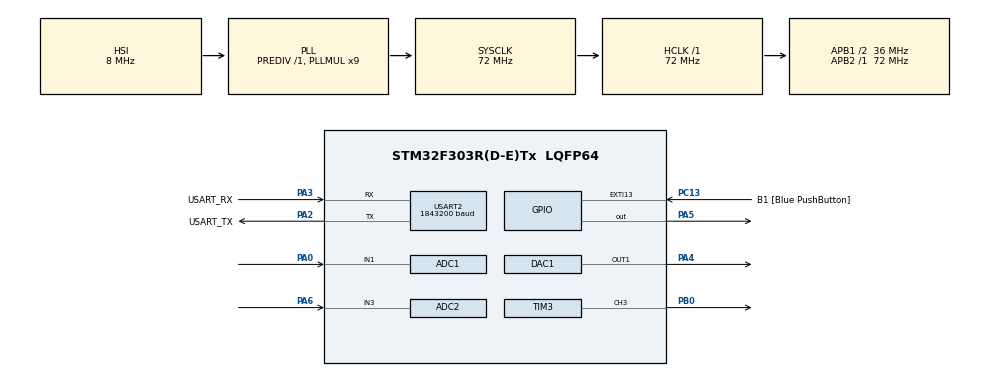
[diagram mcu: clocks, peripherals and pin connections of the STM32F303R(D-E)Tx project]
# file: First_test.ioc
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ADC1.Channel-1\#ChannelRegularConversion=ADC_CHANNEL_1
ADC1.ContinuousConvMode=ENABLE
ADC1.DMAContinuousRequests=ENABLE
ADC1.NbrOfConversionFlag=1
ADC1.Offset-1\#ChannelRegularConversion=0
ADC1.OffsetNumber-1\#ChannelRegularConversion=ADC_OFFSET_NONE
ADC1.Rank-1\#ChannelRegularConversion=1
ADC1.SamplingTime-1\#ChannelRegularConversion=ADC_SAMPLETIME_19CYCLES_5
ADC1.SamplingTimeOPAMP-1\#ChannelRegularConversion=ADC_SAMPLETIME_61CYCLES_5
ADC1.master=1
ADC2.Channel-1\#ChannelRegularConversion=ADC_CHANNEL_3
ADC2.ContinuousConvMode=ENABLE
ADC2.DMAContinuousRequests=ENABLE
ADC2.NbrOfConversionFlag=1
ADC2.Offset-1\#ChannelRegularConversion=0
ADC2.OffsetNumber-1\#ChannelRegularConversion=ADC_OFFSET_NONE
ADC2.Rank-1\#ChannelRegularConversion=1
ADC2.SamplingTime-1\#ChannelRegularConversion=ADC_SAMPLETIME_1CYCLE_5
ADC2.SamplingTimeOPAMP-1\#ChannelRegularConversion=ADC_SAMPLETIME_61CYCLES_5
DAC1.DAC_Trigger=DAC_TRIGGER_T2_TRGO
DAC1.WaveGeneration=DISABLE
Dma.ADC1.0.Direction=DMA_PERIPH_TO_MEMORY
Dma.ADC1.0.Instance=DMA1_Channel1
Dma.ADC1.0.MemDataAlignment=DMA_MDATAALIGN_HALFWORD
Dma.ADC1.0.MemInc=DMA_MINC_ENABLE
Dma.ADC1.0.Mode=DMA_CIRCULAR
Dma.ADC1.0.PeriphDataAlignment=DMA_PDATAALIGN_HALFWORD
Dma.ADC1.0.PeriphInc=DMA_PINC_DISABLE
Dma.ADC1.0.Priority=DMA_PRIORITY_LOW
Dma.ADC2.2.Direction=DMA_PERIPH_TO_MEMORY
Dma.ADC2.2.Instance=DMA2_Channel1
Dma.ADC2.2.MemDataAlignment=DMA_MDATAALIGN_HALFWORD
Dma.ADC2.2.MemInc=DMA_MINC_ENABLE
Dma.ADC2.2.Mode=DMA_CIRCULAR
Dma.ADC2.2.PeriphDataAlignment=DMA_PDATAALIGN_HALFWORD
Dma.ADC2.2.PeriphInc=DMA_PINC_DISABLE
Dma.ADC2.2.Priority=DMA_PRIORITY_LOW
Dma.DAC1_CH1.1.Direction=DMA_MEMORY_TO_PERIPH
Dma.DAC1_CH1.1.Instance=DMA1_Channel3
Dma.DAC1_CH1.1.MemDataAlignment=DMA_MDATAALIGN_WORD
Dma.DAC1_CH1.1.MemInc=DMA_MINC_ENABLE
Dma.DAC1_CH1.1.Mode=DMA_CIRCULAR
Dma.DAC1_CH1.1.PeriphDataAlignment=DMA_PDATAALIGN_WORD
Dma.DAC1_CH1.1.PeriphInc=DMA_PINC_DISABLE
Dma.DAC1_CH1.1.Priority=DMA_PRIORITY_HIGH
Dma.Request0=ADC1
Dma.Request1=DAC1_CH1
Dma.Request2=ADC2
Mcu.Family=STM32F3
Mcu.Name=STM32F303R(D-E)Tx
Mcu.Package=LQFP64
NVIC.ADC1_2_IRQn=true\:0\:0\:false\:false\:true\:true\:true
NVIC.DMA1_Channel1_IRQn=true\:0\:0\:false\:false\:true\:false\:true
NVIC.DMA1_Channel3_IRQn=true\:0\:0\:false\:false\:true\:false\:true
NVIC.DMA2_Channel1_IRQn=true\:0\:0\:false\:false\:true\:false\:true
NVIC.PriorityGroup=NVIC_PRIORITYGROUP_0
NVIC.TIM2_IRQn=true\:0\:0\:false\:false\:true\:true\:true
NVIC.TIM4_IRQn=true\:0\:0\:false\:false\:true\:true\:true
NVIC.TIM6_DAC_IRQn=true\:0\:0\:false\:false\:true\:true\:true
NVIC.USART2_IRQn=true\:0\:0\:false\:false\:true\:true\:true
PA0.Mode=IN1-Single-Ended
PA0.Signal=ADC1_IN1
PA13.GPIO_Label=TMS
PA13.Mode=Serial_Wire
PA13.Signal=SYS_JTMS-SWDIO
PA14.GPIO_Label=TCK
PA14.Mode=Serial_Wire
PA14.Signal=SYS_JTCK-SWCLK
PA2.GPIO_Label=USART_TX
PA2.GPIO_Mode=GPIO_MODE_AF_PP
PA2.GPIO_PuPd=GPIO_NOPULL
PA2.GPIO_Speed=GPIO_SPEED_FREQ_LOW
PA2.Mode=Asynchronous
PA2.Signal=USART2_TX
PA3.GPIO_Label=USART_RX
PA3.GPIO_Mode=GPIO_MODE_AF_PP
PA3.GPIO_PuPd=GPIO_NOPULL
PA3.GPIO_Speed=GPIO_SPEED_FREQ_LOW
PA3.Mode=Asynchronous
PA3.Signal=USART2_RX
PA4.Signal=COMP_DAC11_group
PA5.GPIO_PuPd=GPIO_PULLDOWN
PA5.GPIO_Speed=GPIO_SPEED_FREQ_HIGH
PA5.Signal=GPIO_Output
PA6.Mode=IN3-Single-Ended
PA6.Signal=ADC2_IN3
PB0.Signal=S_TIM3_CH3
PB3.GPIO_Label=SWO
PB3.Signal=SYS_JTDO-TRACESWO
PC13.GPIO_Label=B1 [Blue PushButton]
PC13.GPIO_ModeDefaultEXTI=GPIO_MODE_IT_FALLING
PC13.Signal=GPXTI13
PC14-OSC32_IN.Mode=LSE-External-Oscillator
PC14-OSC32_IN.Signal=RCC_OSC32_IN
PC15-OSC32_OUT.Mode=LSE-External-Oscillator
PC15-OSC32_OUT.Signal=RCC_OSC32_OUT
PF0-OSC_IN.Mode=HSE-External-Clock-Source
PF0-OSC_IN.Signal=RCC_OSC_IN
PF1-OSC_OUT.Signal=RCC_OSC_OUT
ProjectManager.HeapSize=0x200
ProjectManager.StackSize=0x400
ProjectManager.TargetToolchain=STM32CubeIDE
RCC.AHBFreq_Value=72000000
RCC.APB1CLKDivider=RCC_HCLK_DIV2
RCC.APB1Freq_Value=36000000
RCC.APB1TimFreq_Value=72000000
RCC.APB2Freq_Value=72000000
RCC.APB2TimFreq_Value=72000000
RCC.CortexFreq_Value=72000000
RCC.HCLKFreq_Value=72000000
RCC.HSE_VALUE=8000000
RCC.HSI_VALUE=8000000
RCC.PLLM=8
RCC.PLLMUL=RCC_PLL_MUL9
RCC.PLLN=336
RCC.PLLP=RCC_PLLP_DIV4
RCC.PLLQ=7
RCC.RCC_PLLsource_Clock_Source_FROM_HSE=RCC_HSE_PREDIV_DIV2
RCC.SYSCLKFreq_VALUE=72000000
RCC.SYSCLKSourceVirtual=RCC_SYSCLKSOURCE_PLLCLK
RCC.USBFreq_Value=72000000
SH.COMP_DAC11_group.0=DAC1_OUT1,DAC_OUT1
SH.S_TIM3_CH3.0=TIM3_CH3,PWM Generation3 CH3
TIM2.Period=624
TIM2.TIM_MasterOutputTrigger=TIM_TRGO_UPDATE
TIM3.Channel-PWM\ Generation3\ CH3=TIM_CHANNEL_3
TIM3.Period=50
TIM3.Prescaler=3
TIM3.TIM_MasterOutputTrigger=TIM_TRGO_RESET
TIM4.Prescaler=6000
USART2.BaudRate=1843200
USART2.VirtualMode-Asynchronous=VM_ASYNC
VP_TIM2_VS_ClockSourceINT.Mode=Internal
VP_TIM3_VS_ClockSourceINT.Mode=Internal
VP_TIM4_VS_ClockSourceINT.Mode=Internal
board=NUCLEO-F303RE

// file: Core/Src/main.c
/* USER CODE BEGIN Header */
/**
  ******************************************************************************
  * @file           : main.c
  * @brief          : Main program body
  ******************************************************************************
  * @attention
  *
  * <h2><center>&copy; Copyright (c) 2020 STMicroelectronics.
  * All rights reserved.</center></h2>
  *
  * This software component is licensed by ST under BSD 3-Clause license,
  * the "License"; You may not use this file except in compliance with the
  * License. You may obtain a copy of the License at:
  *                        opensource.org/licenses/BSD-3-Clause
  *
  ******************************************************************************
  */
/* USER CODE END Header */
#include "main.h"

/* USER CODE BEGIN Includes */
#include <string.h>  // Required for strlen() function
#include <stdio.h>   // Required for sprintf() function
#include <stdlib.h>  // Required for abs() function
#include <math.h>
#include <errno.h>
/* USER CODE END Includes */

ADC_HandleTypeDef hadc1;
ADC_HandleTypeDef hadc2;
DMA_HandleTypeDef hdma_adc1;
DMA_HandleTypeDef hdma_adc2;

DAC_HandleTypeDef hdac1;
DMA_HandleTypeDef hdma_dac1_ch1;

TIM_HandleTypeDef htim2;
TIM_HandleTypeDef htim3;
TIM_HandleTypeDef htim4;

UART_HandleTypeDef huart2;

/* USER CODE BEGIN PV */
//Constants

const int CLOCK_SPEED = 72000000; //Needed to measure time using clock cycles passed
const int RAM_SIZE = 80000; //kB

const int MAX_SAMPLES = 25000; //Uses 50kB of memory, value here must match the size of the 'data' array on line 68
const double ADC_CYCLES = 61.5; //Set in .ioc
const int TIMER_FREQ_TIMES_ARR = 560000; //TIM2->ARR = 40 gives 14kHz

uint32_t DAC_Offset[2] = {484, 2458};

//AFG LUTs
uint32_t LUT_SineWave[128] = {
    2048, 2149, 2250, 2350, 2450, 2549, 2646, 2742, 2837, 2929, 3020, 3108, 3193, 3275, 3355,
    3431, 3504, 3574, 3639, 3701, 3759, 3812, 3861, 3906, 3946, 3982, 4013, 4039, 4060, 4076,
    4087, 4094, 4095, 4091, 4082, 4069, 4050, 4026, 3998, 3965, 3927, 3884, 3837, 3786, 3730,
    3671, 3607, 3539, 3468, 3394, 3316, 3235, 3151, 3064, 2975, 2883, 2790, 2695, 2598, 2500,
    2400, 2300, 2199, 2098, 1997, 1896, 1795, 1695, 1595, 1497, 1400, 1305, 1212, 1120, 1031,
    944, 860, 779, 701, 627, 556, 488, 424, 365, 309, 258, 211, 168, 130, 97,
    69, 45, 26, 13, 4, 0, 1, 8, 19, 35, 56, 82, 113, 149, 189,
    234, 283, 336, 394, 456, 521, 591, 664, 740, 820, 902, 987, 1075, 1166, 1258,
    1353, 1449, 1546, 1645, 1745, 1845, 1946, 2047
};

uint32_t LUT_SquareWave[128] = {
	4095, 4095, 4095, 4095, 4095, 4095, 4095, 4095, 4095, 4095, 4095, 4095, 4095, 4095, 4095,
	4095, 4095, 4095, 4095, 4095, 4095, 4095, 4095, 4095, 4095, 4095, 4095, 4095, 4095, 4095,
	4095, 4095, 4095, 4095, 4095, 4095, 4095, 4095, 4095, 4095, 4095, 4095, 4095, 4095, 4095,
	4095, 4095, 4095, 4095, 4095, 4095, 4095, 4095, 4095, 4095, 4095, 4095, 4095, 4095, 4095,
	0,    0,    0,    0,    0,    0,    0,    0,    0,    0,    0,    0,    0,    0,    0,
    0,    0,    0,    0,    0,    0,    0,    0,    0,    0,    0,    0,    0,    0,    0,
    0,    0,    0,    0,    0,    0,    0,    0,    0,    0,    0,    0,    0,    0,    0,
    0,    0,    0,    0,    0,    0,    0,    0,    0,    0,    0,    0,    0,    0,    0,
    0,    0,    0,    0,    0,    0,    0,    0
};

uint32_t LUT_SawtoothWave[128] = {
		0 , 32 , 64 , 96 , 128 , 160 , 192 , 224 , 256 , 288 , 320 , 352 , 384 , 416 , 448 ,
		480 , 512 , 544 , 576 , 608 , 640 , 672 , 704 , 736 , 768 , 800 , 832 , 864 , 896 , 928 ,
		960 , 992 , 1024 , 1056 , 1088 , 1120 , 1152 , 1184 , 1216 , 1248 , 1280 , 1312 , 1344 , 1376 , 1408 ,
		1440 , 1472 , 1504 , 1536 , 1568 , 1600 , 1632 , 1664 , 1696 , 1728 , 1760 , 1792 , 1824 , 1856 , 1888 ,
		1920 , 1952 , 1984 , 2016 , 2048 , 2080 , 2112 , 2144 , 2176 , 2208 , 2240 , 2272 , 2304 , 2336 , 2368 ,
		2400 , 2432 , 2464 , 2496 , 2528 , 2560 , 2592 , 2624 , 2656 , 2688 , 2720 , 2752 , 2784 , 2816 , 2848 ,
		2880 , 2912 , 2944 , 2976 , 3008 , 3040 , 3072 , 3104 , 3136 , 3168 , 3200 , 3232 , 3264 , 3296 , 3328 ,
		3360 , 3392 , 3424 , 3456 , 3488 , 3520 , 3552 , 3584 , 3616 , 3648 , 3680 , 3712 , 3744 , 3776 , 3808 ,
		3840 , 3872 , 3904 , 3936 , 3968 , 4000 , 4032 , 4064
};

uint32_t LUT_Noise[128] = {
		1902 , 3273 , 943 , 2996 , 420 , 2843 , 431 , 2115 , 2842 , 2741 , 3069 , 1969 , 3296 , 2452 , 839 ,
		98 , 1995 , 19 , 1570 , 2901 , 318 , 2679 , 1099 , 3934 , 2505 , 2468 , 748 , 140 , 1315 , 3569 ,
		2520 , 1267 , 1880 , 3975 , 657 , 3442 , 705 , 2692 , 2646 , 1376 , 3907 , 2459 , 3391 , 260 , 247 ,
		518 , 786 , 2521 , 2513 , 873 , 956 , 3123 , 66 , 2171 , 2638 , 180 , 2882 , 3821 , 1959 , 1819 ,
		3543 , 2860 , 1604 , 3692 , 1688 , 1438 , 3057 , 537 , 1264 , 2576 , 1599 , 2878 , 1227 , 3039 , 2240 ,
		480 , 2489 , 1627 , 545 , 1141 , 1922 , 2943 , 1646 , 2799 , 1461 , 3330 , 1175 , 1862 , 2699 , 739 ,
		1917 , 2667 , 3685 , 2644 , 349 , 1478 , 1420 , 2970 , 2330 , 3466 , 2097 , 3922 , 2325 , 2162 , 3460 ,
		846 , 787 , 3915 , 2358 , 1600 , 319 , 4079 , 3519 , 149 , 2404 , 206 , 897 , 1054 , 1648 , 2976 ,
		328 , 3104 , 17 , 839 , 1308 , 1621 , 367 , 2656
};

uint32_t LUT_CurrentWave[128] = {
    2048, 2149, 2250, 2350, 2450, 2549, 2646, 2742, 2837, 2929, 3020, 3108, 3193, 3275, 3355,
    3431, 3504, 3574, 3639, 3701, 3759, 3812, 3861, 3906, 3946, 3982, 4013, 4039, 4060, 4076,
    4087, 4094, 4095, 4091, 4082, 4069, 4050, 4026, 3998, 3965, 3927, 3884, 3837, 3786, 3730,
    3671, 3607, 3539, 3468, 3394, 3316, 3235, 3151, 3064, 2975, 2883, 2790, 2695, 2598, 2500,
    2400, 2300, 2199, 2098, 1997, 1896, 1795, 1695, 1595, 1497, 1400, 1305, 1212, 1120, 1031,
    944, 860, 779, 701, 627, 556, 488, 424, 365, 309, 258, 211, 168, 130, 97,
    69, 45, 26, 13, 4, 0, 1, 8, 19, 35, 56, 82, 113, 149, 189,
    234, 283, 336, 394, 456, 521, 591, 664, 740, 820, 902, 987, 1075, 1166, 1258,
    1353, 1449, 1546, 1645, 1745, 1845, 1946, 2047
}; //AFG defaults to sinewave

//Global variables, can be changed from command line

int debug = 0;

int resolution_x = 1920;
int resolution_y = 1080; //Unused

double sample_time = 2; //in miliseconds, current maximum is 25

int AFG_Freq = 0; //Set to >0 to turn on
int AFG_Amplitude = 3300; //Amplitude in mV, peak to peak

int trigger_level = 2048;
int trigger_rising = 1;

int amplifier_x10 = 0;

//Data buffer

short data[25000]; //Large arrays can't be created during runtime

volatile int sample_completed = 0; //Used in getWaveform and the ADC IRQ function to communicate between threads

int GPIO_time = 0;
int interrupted = 1;

/* USER CODE END PV */

void SystemClock_Config(void);
static void MX_GPIO_Init(void);
static void MX_DMA_Init(void);
static void MX_USART2_UART_Init(void);
static void MX_ADC1_Init(void);
static void MX_DAC1_Init(void);
static void MX_TIM2_Init(void);
static void MX_ADC2_Init(void);
static void MX_TIM3_Init(void);
static void MX_TIM4_Init(void);

/* USER CODE BEGIN 0 */
void serialOut(UART_HandleTypeDef *huart, char _out[], uint32_t len){
	HAL_UART_Transmit(huart, (uint8_t *) _out, len, 100);
}

void printStr(char str[])
{
	serialOut(&huart2, str, strlen(str));
}

void printChar(char chr)
{
	char str1[2] = {chr , '\0'};
	char str2[5] = "";
	strcpy(str2,str1);
	serialOut(&huart2, str2, strlen(str2));
}

void printInt(int i)
{
	char str[5];
	itoa(i, str, 10);
	serialOut(&huart2, str, strlen(str));
}

void printIntLn(int i)
{
	char str[5];
	itoa(i, str, 10);
	serialOut(&huart2, str, strlen(str));
	printStr("\r\n");
}

/**
 * Print string and go to next line (currently broken)
 */
void printStrLn(char str[])
{
	char newstr[strlen(str)+5];
	strcpy(newstr, str);
	strcat(newstr, "\r\n");
	serialOut(&huart2, str, strlen(newstr));
}

void printWaveform(short data[], int size)
{
	for(int i = 0; i<size; i++)
	{
		printStr("|");
		printInt(data[i]);
	}
}

/**
 * Read "readsize" number of characters from serial port, and outputs to outputString
 * Returns 1 if timed out, else 0
 * printchar echoes the typed character back to the PC
 */
int readSerial(char* outputString, int readsize, int timeout, int printchar)
{
	int starttime = HAL_GetTick(); //Used to check for timeout
	char rxedString[readsize+1];
	for(int i = 0; i<readsize; i++)
	{
		rxedString[i] = '#';
	}
	char rxedChar[1] = "#";
	int charnum = 0;
	while (1)
	{
		  HAL_UART_Receive(&huart2, (uint8_t *)rxedChar, 1, 100);

		  if (rxedChar[0] == '\n' || rxedChar[0] == '\r' || rxedChar[0] == ' ') {
			  break; //If a newline or space is received, stop receiving data and return the string
		  }

		  if(rxedChar[0] != '#')
		  {
			  rxedString[charnum] = rxedChar[0]; //Add the newly received character to the string
			  charnum += 1;
			  if(printchar == 1)
			  {
				  printChar(rxedChar[0]); //If enabled, the MCU will echo characters sent to it, helpful in command line
			  }
			  rxedChar[0] = '#';
		  }

		  if(rxedString[readsize-1] != '#')
		  {
			  break; //String is full
		  }

		  if(HAL_GetTick()-starttime > timeout)
		  {
			  return 1; //Checks if timed out, if so return 1 instead of
		  }
	}

	int truesize = 0;
	for(int i = 0; i<readsize; i++)
	{
		if(rxedString[i] != '#')
		{
			truesize += 1;
		}
	}
	rxedString[truesize] = 0; //Terminates string correctly

	strcpy(outputString, rxedString);
	return 0;
}

/**
 * Read one value from the ADC
 */
short readADC()
{
	HAL_ADC_Start(&hadc1);
	HAL_ADC_PollForConversion(&hadc1, 10);
	uint32_t value = HAL_ADC_GetValue(&hadc1);
	return value;
}

int measureFrequency(short* data, int samples_taken, double timeframe, int trigger_level)
{
	int high = 0;
	int cycles = 0;
	for(int i = 0; i<samples_taken; i++)
	{
		if(high == 0)
		{
			if(data[i] > trigger_level)
			{
				high = 1;
			}
		}
		else
		{
			if(data[i] < trigger_level)
			{
				high = 0;
				cycles++;
			}
		}
	}
	return round(cycles / (timeframe/1000));
}

/**
 * Either extrapolates between samples to fit resolution_x or uses multiple samples per pixel
 */
void compressWaveform(short* data, short *newdata, int samples_taken, int resolution_x, int output_offset)
{
	if(output_offset != 0)
	{
		output_offset += 1;
	}
	if(debug)
	{
		printStr("Compressing waveform... at offset");
		printInt(output_offset);
		printStr("\n\r");
	}
	/*
	for(int current_pixel = output_offset; current_pixel<resolution_x; current_pixel++)
	{
		int sample = data[(int)(((double)current_pixel/resolution_x)*samples_taken)];
		printStr("1");
		if(current_pixel+output_offset <= resolution_x)
		{
			printInt(current_pixel+output_offset);
			printStr("\n\r");
			newdata[current_pixel+output_offset] = sample;
		}
		printStr("2");
	}*/
	for(int current_pixel = output_offset; current_pixel<resolution_x; current_pixel++)
	{
		if(debug)
		{
			printStr("\n\r");
			printInt(current_pixel);
		}
		int samplenum = ((float)(current_pixel-output_offset)/(resolution_x-output_offset))*samples_taken;
		newdata[current_pixel] = data[samplenum];
	}
	if(debug)
	{
		printStrLn("Compression complete \n\r");
	}
	/*
	int current_pixel = 0;
	int current_sample = 0;
	while(current_sample<samples)
	{
		if((current_sample+1) % samples_per_pixel == 0)
		{
			newdata[current_pixel] /= samples_per_pixel;
			current_pixel++;
		}
		newdata[current_pixel] += data[current_sample];
		current_sample++;
	}*/
}

void getDataAndWait(short* data, int samples)
{
	sample_completed = 0;
	HAL_ADC_Start_DMA(&hadc1, (uint32_t*)data, samples);
	while(sample_completed == 0)
	{
		int a = 1;
	}
	HAL_ADC_Stop_DMA(&hadc1);
}

int getTriggeredWaveform(short* data_out, int resolution_x, double sample_time)
{
	interrupted = 0;

	//HAL_TIM_Base_Start_IT(&htim4);
	char rx[2];
	HAL_UART_Receive_IT(&huart2,rx,1);

	HAL_ADC_Start(&hadc1);
	while(1)
	{
		HAL_ADC_PollForConversion(&hadc1, 10);
		uint32_t value = HAL_ADC_GetValue(&hadc1);
		if(trigger_rising == 1)
		{
			if(value > trigger_level)
			{
				HAL_ADC_Stop(&hadc1);
				break;
			}
		}
		else
		{
			if(value < trigger_level)
			{
				HAL_ADC_Stop(&hadc1);
				break;
			}
		}
		if(interrupted == 1)
		{
			break;
		}
	}
	if(interrupted == 0)
	{
		getWaveform(data_out, resolution_x, sample_time);
		HAL_UART_AbortReceive_IT(&huart2);
		return 1;
	}
	else
	{
		return 0;
	}
}

/**
 * Get the set amount of samples in the timeframe, and store in data
 */
void getWaveform(short* data_out, int resolution_x, double sample_time)
{
	//219,780 samples per second
	//printInt(1);
	//printInt((samples/219780.0)*1000.0);

	/*
	if((samples/219780.0)*1000.0 > timeframe) //If data is sampled often enough, delay isn't needed (eg <8.7ms at 1920 samples)
	{
		int start = HAL_GetTick();
		for(int i = 0; i < samples; i++)
		{
			data[i] = readADC();
		}
		printStr("Acquisition time (ms): ");
		printInt(HAL_GetTick()-start);
		printStr("\n\r");
	}
	*/
	//double samples_per_ms = (25000/0.000032)/1000;

	//double a = timeframe/0.0251;

	//samples_needed = 220000*timeframe*0.001;
	//printInt(samples_needed);
	//int samples_needed = (double)samples_per_ms*timeframe;
	int samples_needed = (sample_time/7.96)*MAX_SAMPLES; //At 19.5 cycles per reading, 25000 samples are taken in 8ms
	if(samples_needed < MAX_SAMPLES)
	{
		if(debug)
		{
			printStr("High sample rate mode\n\r");
			printInt(samples_needed);
			printStr(" samples needed\n\r");
		}
		sample_completed = 0;
		HAL_ADC_Start_DMA(&hadc1, (uint32_t*)data, samples_needed);
		unsigned long t1 = DWT->CYCCNT; //32400
		while(sample_completed == 0)
		{
			int a = 1;
		}
		unsigned long time2 = (DWT->CYCCNT);
		HAL_ADC_Stop_DMA(&hadc1);
		//printStr("Time:");
		//printInt(time2);
		/*
		printStr("Time2:");
		printInt(t1);*/
		if(debug)
		{
			printStr("time delta:");
			printInt(time2-t1);
		}
		//printInt((time2*1000000000)/(double)Clock_speed);
		//printStr("/");
		//printInt((int)(timeframe*1000.0));
		//printStr("test");

		//HAL_ADC_Start_IT(&hadc1);
		//printStr("Data:");
		//printInt(data[0]);

		compressWaveform(data, data_out, samples_needed, resolution_x, 0);
	}
	else
	{
		if(debug)
		{
			printStr("mode 2\n\r");
			printInt(samples_needed);
			printStr(" samples needed\n\r");
		}
		double datasets_needed = (double)samples_needed/MAX_SAMPLES;
		int datasets_done = 0;
		int samples_per_dataset = ((double)MAX_SAMPLES/samples_needed)*resolution_x;
		while(datasets_done < datasets_needed)
		{
			sample_completed = 0;
			if(datasets_needed - datasets_done > 1)
			{
				getDataAndWait(data, MAX_SAMPLES);
				//printInt(samples_per_dataset);
				compressWaveform(data, data_out, MAX_SAMPLES, (((float)(MAX_SAMPLES*(datasets_done+1))/(samples_needed))*resolution_x), ((float)(MAX_SAMPLES*datasets_done)/(samples_needed))*resolution_x);//datasets_done * samples_per_dataset);
				if(datasets_done != 0)
				{
					data_out[(int)((((float)(MAX_SAMPLES*(datasets_done))/(samples_needed))*resolution_x))+1] = data[25];
					data_out[(int)((((float)(MAX_SAMPLES*(datasets_done))/(samples_needed))*resolution_x))] = data[20];
					data_out[(int)((((float)(MAX_SAMPLES*(datasets_done))/(samples_needed))*resolution_x))-1] = data[15];
				}
					//printInt(data_out[0]);
			}
			else
			{

				if(debug)
				{
					printStr("Datasets left: ");
					printInt((int)((datasets_needed - datasets_done)*100));
					printStr("samples left as %");
					printInt(((float)(MAX_SAMPLES*datasets_done)/(samples_needed))*100);
				}
				int samples_current_dataset = MAX_SAMPLES*(datasets_needed - datasets_done);
				getDataAndWait(data, samples_current_dataset);
				compressWaveform(data, data_out, samples_current_dataset, resolution_x, (((float)(MAX_SAMPLES*datasets_done)/(samples_needed))*resolution_x));
				data_out[(int)((((float)(MAX_SAMPLES*(datasets_done))/(samples_needed))*resolution_x))+1] = data[25];
				data_out[(int)((((float)(MAX_SAMPLES*(datasets_done))/(samples_needed))*resolution_x))] = data[20];
				data_out[(int)((((float)(MAX_SAMPLES*(datasets_done))/(samples_needed))*resolution_x))-1] = data[15];
			}
			datasets_done++;
			/*
			printStr("dataset done");
			printInt(datasets_done);
			printStr(" out of ");
			printInt(datasets_needed);*/
		}
	}
}

void HAL_ADC_ConvCpltCallback(ADC_HandleTypeDef* AdcHandle)
{
	sample_completed = 1;
}

void ADC_IRQHandler()
{
    HAL_ADC_IRQHandler(&hadc1);
}

void afgAmplitudeAdjustment(int new_amplitude)
{
	float ratio = AFG_Amplitude/3300.0f;
	ratio = 1/ratio;
	for(int i = 0; i<128; i++)
	{
		int previous_amplitude = LUT_CurrentWave[i];
		if(previous_amplitude > 2048)
		{
			LUT_CurrentWave[i] = 2048+((previous_amplitude-2048)*ratio);
		}
		else
		{
			LUT_CurrentWave[i] = 2048-((2048-previous_amplitude)*ratio);
		}
	}
	AFG_Amplitude = new_amplitude;
	ratio = AFG_Amplitude/3300.0f;
	for(int i = 0; i<128; i++)
	{
		int previous_amplitude = LUT_CurrentWave[i];
		if(previous_amplitude > 2048)
		{
			LUT_CurrentWave[i] = 2048+((previous_amplitude-2048)*ratio);
		}
		else
		{
			LUT_CurrentWave[i] = 2048-((2048-previous_amplitude)*ratio);
		}
	}
}

void changeAFGWaveform(char* name)
{
	if(strcmp(name, "square") == 0)
	{
		for(int i = 0; i<128; i++)
		{
			LUT_CurrentWave[i] = LUT_SquareWave[i];
		}
	}
	else if(strcmp(name, "sine") == 0)
	{
		for(int i = 0; i<128; i++)
		{
			LUT_CurrentWave[i] = LUT_SineWave[i];
		}
	}
	else if(strcmp(name, "sawtooth") == 0)
	{
		for(int i = 0; i<128; i++)
		{
			LUT_CurrentWave[i] = LUT_SawtoothWave[i];
		}
	}
	else if(strcmp(name, "noise") == 0)
	{
		for(int i = 0; i<128; i++)
		{
			LUT_CurrentWave[i] = LUT_Noise[i];
		}
	}
	else
	{
		printStr("Invalid waveform name");
	}
}

void startAFG()
{
    HAL_DAC_Start_DMA(&hdac1, DAC_CHANNEL_1, (uint32_t*)LUT_CurrentWave, 128, DAC_ALIGN_12B_R);
    HAL_TIM_Base_Start(&htim2);
}

void stopAFG()
{
	HAL_DAC_Stop_DMA(&hdac1, DAC_CHANNEL_1);
}

/*
void USART2_IRQHandler()
{
	printStr("irq");
	/*
  if(USART_GetITStatus(PMIC_COM1, USART_IT_RXNE))
  {
    char t = USART_ReceiveData(PMIC_COM1);

    //Check if received character is end character
    if( (t != 'x') && (cnt < MAX_STRLEN) ){
      received_string[cnt] = t;
      cnt++;
    }
    else{ // otherwise reset the character counter and print the received string
      cnt = 0;
      printf("UART Message: %c", received_string);
    }
  }
}
*/
void HAL_TIM_PeriodElapsedCallback(TIM_HandleTypeDef *htim)
{
  // Check which version of the timer triggered this callback
  if (htim == &htim4)
  {
	  interrupted = 1;
  }
}

void USART2_IRQHandler(void)
{
  /* USER CODE BEGIN USART2_IRQn 0 */

  /* USER CODE END USART2_IRQn 0 */
  HAL_UART_IRQHandler(&huart2);
  interrupted = 1;
  HAL_ADC_Stop(&hadc1);
  HAL_UART_AbortReceive_IT(&huart2);

  /* USER CODE BEGIN USART2_IRQn 1 */

  /* USER CODE END USART2_IRQn 1 */
}
/*
void miliSleep(int sleeptime, int sleepcal)
{
	for(int i = 0; i<3786*sleeptime; i++)
	{
		int x = pow(2,12);
	}
}

void microSleep(int sleeptime, int sleepcal)
{
	for(int i = 0; i<3786*sleeptime; i++)
	{
		int x = pow(2,12);
	}
}*/
/*
int sleepCalibration()
{
	int start = HAL_GetTick();
	for(int i = 0; i<500000; i++)
	{
		int x = pow(2,12);
	}
	int end = (HAL_GetTick()-start);
	return (500000/end)*1.16;
}*/
/* USER CODE END 0 */

int main(void)
{

  /* MCU Configuration--------------------------------------------------------*/

  /* Reset of all peripherals, Initializes the Flash interface and the Systick. */
  HAL_Init();

  /* USER CODE BEGIN Init */

  //Enable clock cycle counter
  CoreDebug->DEMCR |= CoreDebug_DEMCR_TRCENA_Msk;
  DWT->CYCCNT = 0;
  DWT->CTRL |= DWT_CTRL_CYCCNTENA_Msk;

  /* USER CODE END Init */

  /* Configure the system clock */
  SystemClock_Config();

  /* USER CODE BEGIN SysInit */
  // One source on line says you have to manually enable the system clock to the DAC.
  // It doesn't seem to matter when I try it, but if required, this is the code:
  // RCC->APB1ENR |= RCC_APB1ENR_DAC1EN;

  /* USER CODE END SysInit */

  /* Initialize all configured peripherals */
  MX_GPIO_Init();
  MX_DMA_Init();
  MX_USART2_UART_Init();
  MX_ADC1_Init();
  MX_DAC1_Init();
  MX_TIM2_Init();
  MX_ADC2_Init();
  MX_TIM3_Init();
  MX_TIM4_Init();
  /* USER CODE BEGIN 2 */

  //HAL_TIM_Base_Start_IT(&htim3);
  HAL_TIM_PWM_Start(&htim3, TIM_CHANNEL_3);

  __HAL_TIM_SetCompare(&htim3, TIM_CHANNEL_3, 32);

  /* USER CODE END 2 */

  /* Infinite loop */
  /* USER CODE BEGIN WHILE */

  //HAL_DAC_Start(&hdac1, DAC_CHANNEL_2);
  //HAL_DAC_SetValue(&hdac1, DAC_CHANNEL_2, DAC_ALIGN_12B_R, 4096); //Default to x1 probe mode

  //HAL_DAC_Start_DMA(&hdac1, DAC_CHANNEL_2, DAC_Offset, 2, DAC_ALIGN_12B_R);

  //HAL_TIM_Base_Start(&htim2);

  if(debug) { printStr("Ready\n\r"); }

  while(1)
  {

	  printStr(">");
	  char input[2];
	  while(readSerial(input, 1, 100000, debug) == 1)
	  {
		  printStr(">");
	  }

	  if(input[0] == 'A') //Acquire data
	  {
		  short newdata[resolution_x];
		  for(int i = 0; i<resolution_x; i++)
		  {
			  newdata[i] = 0;
		  }
		  getWaveform(newdata, resolution_x, sample_time);
		  printWaveform(newdata, resolution_x);
		  //printInt(measureFrequency(newdata, 1920, sample_time, 3000));
	  }
	  else if(input[0] == 'T') //Acquire data on trigger
	  {
		  if(debug)
		  {
			  printStr("Waiting for trigger... ");
		  }
		  short newdata[resolution_x];
		  for(int i = 0; i<resolution_x; i++)
		  {
			  newdata[i] = 0;
		  }
		  if(getTriggeredWaveform(newdata, resolution_x, sample_time) == 1)
		  {
			  printWaveform(newdata, resolution_x);
		  }
		  else
		  {
			  printStr(" ");
			  if(debug)
			  {
				  printStr("Cancelled");
			  }
		  }
		  //printInt(measureFrequency(newdata, 1920, sample_time, 3000));
	  }
	  else if(input[0] == 'S') //Set variable
	  {
		  if(debug) { printStr("SetVar"); }

		  char variable_name[21];
		  readSerial(variable_name, 20, 20000, 1);
		  variable_name[20] = '\0';

		  char variable_value[21];
		  readSerial(variable_value, 20, 20000, 1);
		  variable_value[20] = '\0';

		  if(strcmp(variable_name, "resolution_x") == 0)
		  {
			  char *end;
			  int newval = strtol(variable_value, &end, 10);
			  if(newval == 0)
			  {
				  printStr("Invalid number");
			  }
			  else
			  {
				  resolution_x = newval;
			  }
		  }
		  else if(strcmp(variable_name, "resolution_y") == 0)
		  {
			  char *end;
			  int newval = strtol(variable_value, &end, 10);
			  if(newval == 0)
			  {
				  printStr("Invalid number");
			  }
			  else
			  {
				  resolution_y = newval;
			  }
		  }
		  else if(strcmp(variable_name, "sample_time") == 0)
		  {
			  char *end;
			  double newval = strtod(variable_value, &end);
			  if(newval == 0)
			  {
				  printStr("Invalid number");
			  }
			  else
			  {
				  sample_time = newval;
			  }
		  }
		  else if(strcmp(variable_name, "trigger_level") == 0)
		  {
			  char *endptr;
			  int newval = strtol(variable_value, &endptr, 10);
			  if(endptr == variable_value || newval > 4097)
			  {
				  printStr("Invalid number, must be <= 4096");
			  }
			  else
			  {
				  trigger_level = newval;
			  }
		  }
		  else if(strcmp(variable_name, "trigger_rising") == 0)
		  {
			  char *endptr;
			  int newval = strtol(variable_value, &endptr, 10);
			  if(endptr == variable_value || newval > 1)
			  {
				  printStr("Invalid number, must be 1 for rising or 0 for falling edge");
			  }
			  else
			  {
				  trigger_rising = newval;
			  }
		  }
		  else if(strcmp(variable_name, "amplifier_x10") == 0)
		  {
			  char *endptr;
			  int newval = strtol(variable_value, &endptr, 10);
			  if(endptr == variable_value || newval > 1)
			  {
				  printStr("Invalid number, must be 1 for x10, 0 for x1");
			  }
			  else
			  {
				  if(newval == 1)
				  {
					  amplifier_x10 = 1;
					  __HAL_TIM_SetCompare(&htim3, TIM_CHANNEL_3, 5);
				  }
				  else
				  {
					  amplifier_x10 = 0;
					  __HAL_TIM_SetCompare(&htim3, TIM_CHANNEL_3, 32);
				  }
			  }
		  }
		  else if(strcmp(variable_name, "afg_freq") == 0)
		  {
			  char *endptr;
			  int newval = strtol(variable_value, &endptr, 10);
			  if(endptr == variable_value)
			  {
				  printStr("Invalid number");
			  }
			  else
			  {
				  if(newval>0)
				  {
					  TIM2->ARR = round(TIMER_FREQ_TIMES_ARR/newval);
					  AFG_Freq = newval;
					  startAFG();
				  }
				  else
				  {
					  stopAFG();
				  }
			  }
		  }
		  else if(strcmp(variable_name, "afg_amplitude") == 0)
		  {
			  char *endptr;
			  int newval = strtol(variable_value, &endptr, 10);
			  if(endptr == variable_value)
			  {
				  printStr("Invalid number");
			  }
			  else
			  {
				  afgAmplitudeAdjustment(newval);
			  }
		  }
		  else if(strcmp(variable_name, "afg_waveform") == 0)
		  {
			  changeAFGWaveform(variable_value);
		  }
		  else if(strcmp(variable_name, "DEBUG") == 0)
		  {
			  char *endptr;
			  int newval = strtol(variable_value, &endptr, 10);
			  if(endptr == variable_value)
			  {
				  printStr("Invalid number");
			  }
			  else
			  {
				  debug = newval;
			  }
		  }
		  else
		  {
			  printStr("Variable not found. Valid variables are resolution_x, sample_time, afg_freq, afg_waveform, afg_amplitude and DEBUG");
		  }
	  }
	  else
	  {
		  printStr("'");
		  printStr(input[0]);
		  printStr("'");
		  printStr("is an invalid command. Use A to acquire data or S to set a variable");
	  }
  }
    /* USER CODE END WHILE */

}

void SystemClock_Config(void)
{
  RCC_OscInitTypeDef RCC_OscInitStruct = {0};
  RCC_ClkInitTypeDef RCC_ClkInitStruct = {0};
  RCC_PeriphCLKInitTypeDef PeriphClkInit = {0};

  /** Initializes the RCC Oscillators according to the specified parameters
  * in the RCC_OscInitTypeDef structure.
  */
  RCC_OscInitStruct.OscillatorType = RCC_OSCILLATORTYPE_HSI;
  RCC_OscInitStruct.HSIState = RCC_HSI_ON;
  RCC_OscInitStruct.HSICalibrationValue = RCC_HSICALIBRATION_DEFAULT;
  RCC_OscInitStruct.PLL.PLLState = RCC_PLL_ON;
  RCC_OscInitStruct.PLL.PLLSource = RCC_PLLSOURCE_HSI;
  RCC_OscInitStruct.PLL.PLLMUL = RCC_PLL_MUL9;
  RCC_OscInitStruct.PLL.PREDIV = RCC_PREDIV_DIV1;
  if (HAL_RCC_OscConfig(&RCC_OscInitStruct) != HAL_OK)
  {
    Error_Handler();
  }
  /** Initializes the CPU, AHB and APB buses clocks
  */
  RCC_ClkInitStruct.ClockType = RCC_CLOCKTYPE_HCLK|RCC_CLOCKTYPE_SYSCLK
                              |RCC_CLOCKTYPE_PCLK1|RCC_CLOCKTYPE_PCLK2;
  RCC_ClkInitStruct.SYSCLKSource = RCC_SYSCLKSOURCE_PLLCLK;
  RCC_ClkInitStruct.AHBCLKDivider = RCC_SYSCLK_DIV1;
  RCC_ClkInitStruct.APB1CLKDivider = RCC_HCLK_DIV2;
  RCC_ClkInitStruct.APB2CLKDivider = RCC_HCLK_DIV1;

  if (HAL_RCC_ClockConfig(&RCC_ClkInitStruct, FLASH_LATENCY_2) != HAL_OK)
  {
    Error_Handler();
  }
  PeriphClkInit.PeriphClockSelection = RCC_PERIPHCLK_USART2|RCC_PERIPHCLK_ADC12
                              |RCC_PERIPHCLK_TIM2|RCC_PERIPHCLK_TIM34;
  PeriphClkInit.Usart2ClockSelection = RCC_USART2CLKSOURCE_PCLK1;
  PeriphClkInit.Adc12ClockSelection = RCC_ADC12PLLCLK_DIV1;
  PeriphClkInit.Tim2ClockSelection = RCC_TIM2CLK_HCLK;
  PeriphClkInit.Tim34ClockSelection = RCC_TIM34CLK_HCLK;
  if (HAL_RCCEx_PeriphCLKConfig(&PeriphClkInit) != HAL_OK)
  {
    Error_Handler();
  }
}

static void MX_ADC1_Init(void)
{

  ADC_MultiModeTypeDef multimode = {0};
  ADC_ChannelConfTypeDef sConfig = {0};

  /** Common config
  */
  hadc1.Instance = ADC1;
  hadc1.Init.ClockPrescaler = ADC_CLOCK_ASYNC_DIV1;
  hadc1.Init.Resolution = ADC_RESOLUTION_12B;
  hadc1.Init.ScanConvMode = ADC_SCAN_DISABLE;
  hadc1.Init.ContinuousConvMode = ENABLE;
  hadc1.Init.DiscontinuousConvMode = DISABLE;
  hadc1.Init.ExternalTrigConvEdge = ADC_EXTERNALTRIGCONVEDGE_NONE;
  hadc1.Init.ExternalTrigConv = ADC_SOFTWARE_START;
  hadc1.Init.DataAlign = ADC_DATAALIGN_RIGHT;
  hadc1.Init.NbrOfConversion = 1;
  hadc1.Init.DMAContinuousRequests = ENABLE;
  hadc1.Init.EOCSelection = ADC_EOC_SINGLE_CONV;
  hadc1.Init.LowPowerAutoWait = DISABLE;
  hadc1.Init.Overrun = ADC_OVR_DATA_OVERWRITTEN;
  if (HAL_ADC_Init(&hadc1) != HAL_OK)
  {
    Error_Handler();
  }
  /** Configure the ADC multi-mode
  */
  multimode.Mode = ADC_MODE_INDEPENDENT;
  if (HAL_ADCEx_MultiModeConfigChannel(&hadc1, &multimode) != HAL_OK)
  {
    Error_Handler();
  }
  /** Configure Regular Channel
  */
  sConfig.Channel = ADC_CHANNEL_1;
  sConfig.Rank = ADC_REGULAR_RANK_1;
  sConfig.SingleDiff = ADC_SINGLE_ENDED;
  sConfig.SamplingTime = ADC_SAMPLETIME_19CYCLES_5;
  sConfig.OffsetNumber = ADC_OFFSET_NONE;
  sConfig.Offset = 0;
  if (HAL_ADC_ConfigChannel(&hadc1, &sConfig) != HAL_OK)
  {
    Error_Handler();
  }

}

static void MX_ADC2_Init(void)
{

  ADC_ChannelConfTypeDef sConfig = {0};

  /** Common config
  */
  hadc2.Instance = ADC2;
  hadc2.Init.ClockPrescaler = ADC_CLOCK_ASYNC_DIV1;
  hadc2.Init.Resolution = ADC_RESOLUTION_12B;
  hadc2.Init.ScanConvMode = ADC_SCAN_DISABLE;
  hadc2.Init.ContinuousConvMode = ENABLE;
  hadc2.Init.DiscontinuousConvMode = DISABLE;
  hadc2.Init.ExternalTrigConvEdge = ADC_EXTERNALTRIGCONVEDGE_NONE;
  hadc2.Init.ExternalTrigConv = ADC_SOFTWARE_START;
  hadc2.Init.DataAlign = ADC_DATAALIGN_RIGHT;
  hadc2.Init.NbrOfConversion = 1;
  hadc2.Init.DMAContinuousRequests = ENABLE;
  hadc2.Init.EOCSelection = ADC_EOC_SINGLE_CONV;
  hadc2.Init.LowPowerAutoWait = DISABLE;
  hadc2.Init.Overrun = ADC_OVR_DATA_OVERWRITTEN;
  if (HAL_ADC_Init(&hadc2) != HAL_OK)
  {
    Error_Handler();
  }
  /** Configure Regular Channel
  */
  sConfig.Channel = ADC_CHANNEL_3;
  sConfig.Rank = ADC_REGULAR_RANK_1;
  sConfig.SingleDiff = ADC_SINGLE_ENDED;
  sConfig.SamplingTime = ADC_SAMPLETIME_1CYCLE_5;
  sConfig.OffsetNumber = ADC_OFFSET_NONE;
  sConfig.Offset = 0;
  if (HAL_ADC_ConfigChannel(&hadc2, &sConfig) != HAL_OK)
  {
    Error_Handler();
  }

}

static void MX_DAC1_Init(void)
{

  DAC_ChannelConfTypeDef sConfig = {0};

  /** DAC Initialization
  */
  hdac1.Instance = DAC1;
  if (HAL_DAC_Init(&hdac1) != HAL_OK)
  {
    Error_Handler();
  }
  /** DAC channel OUT1 config
  */
  sConfig.DAC_Trigger = DAC_TRIGGER_T2_TRGO;
  sConfig.DAC_OutputBuffer = DAC_OUTPUTBUFFER_ENABLE;
  if (HAL_DAC_ConfigChannel(&hdac1, &sConfig, DAC_CHANNEL_1) != HAL_OK)
  {
    Error_Handler();
  }

}

static void MX_TIM2_Init(void)
{

  TIM_ClockConfigTypeDef sClockSourceConfig = {0};
  TIM_MasterConfigTypeDef sMasterConfig = {0};

  htim2.Instance = TIM2;
  htim2.Init.Prescaler = 0;
  htim2.Init.CounterMode = TIM_COUNTERMODE_UP;
  htim2.Init.Period = 624;
  htim2.Init.ClockDivision = TIM_CLOCKDIVISION_DIV1;
  htim2.Init.AutoReloadPreload = TIM_AUTORELOAD_PRELOAD_DISABLE;
  if (HAL_TIM_Base_Init(&htim2) != HAL_OK)
  {
    Error_Handler();
  }
  sClockSourceConfig.ClockSource = TIM_CLOCKSOURCE_INTERNAL;
  if (HAL_TIM_ConfigClockSource(&htim2, &sClockSourceConfig) != HAL_OK)
  {
    Error_Handler();
  }
  sMasterConfig.MasterOutputTrigger = TIM_TRGO_UPDATE;
  sMasterConfig.MasterSlaveMode = TIM_MASTERSLAVEMODE_DISABLE;
  if (HAL_TIMEx_MasterConfigSynchronization(&htim2, &sMasterConfig) != HAL_OK)
  {
    Error_Handler();
  }

}

static void MX_TIM3_Init(void)
{

  TIM_ClockConfigTypeDef sClockSourceConfig = {0};
  TIM_MasterConfigTypeDef sMasterConfig = {0};
  TIM_OC_InitTypeDef sConfigOC = {0};

  htim3.Instance = TIM3;
  htim3.Init.Prescaler = 3;
  htim3.Init.CounterMode = TIM_COUNTERMODE_UP;
  htim3.Init.Period = 50;
  htim3.Init.ClockDivision = TIM_CLOCKDIVISION_DIV1;
  htim3.Init.AutoReloadPreload = TIM_AUTORELOAD_PRELOAD_DISABLE;
  if (HAL_TIM_Base_Init(&htim3) != HAL_OK)
  {
    Error_Handler();
  }
  sClockSourceConfig.ClockSource = TIM_CLOCKSOURCE_INTERNAL;
  if (HAL_TIM_ConfigClockSource(&htim3, &sClockSourceConfig) != HAL_OK)
  {
    Error_Handler();
  }
  if (HAL_TIM_PWM_Init(&htim3) != HAL_OK)
  {
    Error_Handler();
  }
  sMasterConfig.MasterOutputTrigger = TIM_TRGO_RESET;
  sMasterConfig.MasterSlaveMode = TIM_MASTERSLAVEMODE_DISABLE;
  if (HAL_TIMEx_MasterConfigSynchronization(&htim3, &sMasterConfig) != HAL_OK)
  {
    Error_Handler();
  }
  sConfigOC.OCMode = TIM_OCMODE_PWM1;
  sConfigOC.Pulse = 0;
  sConfigOC.OCPolarity = TIM_OCPOLARITY_HIGH;
  sConfigOC.OCFastMode = TIM_OCFAST_DISABLE;
  if (HAL_TIM_PWM_ConfigChannel(&htim3, &sConfigOC, TIM_CHANNEL_3) != HAL_OK)
  {
    Error_Handler();
  }
  HAL_TIM_MspPostInit(&htim3);

}

static void MX_TIM4_Init(void)
{

  TIM_ClockConfigTypeDef sClockSourceConfig = {0};
  TIM_MasterConfigTypeDef sMasterConfig = {0};

  htim4.Instance = TIM4;
  htim4.Init.Prescaler = 6000;
  htim4.Init.CounterMode = TIM_COUNTERMODE_UP;
  htim4.Init.Period = 65535;
  htim4.Init.ClockDivision = TIM_CLOCKDIVISION_DIV1;
  htim4.Init.AutoReloadPreload = TIM_AUTORELOAD_PRELOAD_DISABLE;
  if (HAL_TIM_Base_Init(&htim4) != HAL_OK)
  {
    Error_Handler();
  }
  sClockSourceConfig.ClockSource = TIM_CLOCKSOURCE_INTERNAL;
  if (HAL_TIM_ConfigClockSource(&htim4, &sClockSourceConfig) != HAL_OK)
  {
    Error_Handler();
  }
  sMasterConfig.MasterOutputTrigger = TIM_TRGO_RESET;
  sMasterConfig.MasterSlaveMode = TIM_MASTERSLAVEMODE_DISABLE;
  if (HAL_TIMEx_MasterConfigSynchronization(&htim4, &sMasterConfig) != HAL_OK)
  {
    Error_Handler();
  }

}

static void MX_USART2_UART_Init(void)
{

  huart2.Instance = USART2;
  huart2.Init.BaudRate = 1843200;
  huart2.Init.WordLength = UART_WORDLENGTH_8B;
  huart2.Init.StopBits = UART_STOPBITS_1;
  huart2.Init.Parity = UART_PARITY_NONE;
  huart2.Init.Mode = UART_MODE_TX_RX;
  huart2.Init.HwFlowCtl = UART_HWCONTROL_NONE;
  huart2.Init.OverSampling = UART_OVERSAMPLING_16;
  huart2.Init.OneBitSampling = UART_ONE_BIT_SAMPLE_DISABLE;
  huart2.AdvancedInit.AdvFeatureInit = UART_ADVFEATURE_NO_INIT;
  if (HAL_UART_Init(&huart2) != HAL_OK)
  {
    Error_Handler();
  }

}

static void MX_DMA_Init(void)
{

  /* DMA controller clock enable */
  __HAL_RCC_DMA1_CLK_ENABLE();
  __HAL_RCC_DMA2_CLK_ENABLE();

  /* DMA interrupt init */
  /* DMA1_Channel1_IRQn interrupt configuration */
  HAL_NVIC_SetPriority(DMA1_Channel1_IRQn, 0, 0);
  HAL_NVIC_EnableIRQ(DMA1_Channel1_IRQn);
  /* DMA1_Channel3_IRQn interrupt configuration */
  HAL_NVIC_SetPriority(DMA1_Channel3_IRQn, 0, 0);
  HAL_NVIC_EnableIRQ(DMA1_Channel3_IRQn);
  /* DMA2_Channel1_IRQn interrupt configuration */
  HAL_NVIC_SetPriority(DMA2_Channel1_IRQn, 0, 0);
  HAL_NVIC_EnableIRQ(DMA2_Channel1_IRQn);

}

static void MX_GPIO_Init(void)
{
  GPIO_InitTypeDef GPIO_InitStruct = {0};

  /* GPIO Ports Clock Enable */
  __HAL_RCC_GPIOC_CLK_ENABLE();
  __HAL_RCC_GPIOF_CLK_ENABLE();
  __HAL_RCC_GPIOA_CLK_ENABLE();
  __HAL_RCC_GPIOB_CLK_ENABLE();

  /*Configure GPIO pin Output Level */
  HAL_GPIO_WritePin(GPIOA, GPIO_PIN_5, GPIO_PIN_RESET);

  /*Configure GPIO pin : B1_Pin */
  GPIO_InitStruct.Pin = B1_Pin;
  GPIO_InitStruct.Mode = GPIO_MODE_IT_FALLING;
  GPIO_InitStruct.Pull = GPIO_NOPULL;
  HAL_GPIO_Init(B1_GPIO_Port, &GPIO_InitStruct);

  /*Configure GPIO pin : PA5 */
  GPIO_InitStruct.Pin = GPIO_PIN_5;
  GPIO_InitStruct.Mode = GPIO_MODE_OUTPUT_PP;
  GPIO_InitStruct.Pull = GPIO_PULLDOWN;
  GPIO_InitStruct.Speed = GPIO_SPEED_FREQ_HIGH;
  HAL_GPIO_Init(GPIOA, &GPIO_InitStruct);

}

void Error_Handler(void)
{
  __disable_irq();
  while (1)
  {
  }
}

/************************ (C) COPYRIGHT STMicroelectronics *****END OF FILE****/
